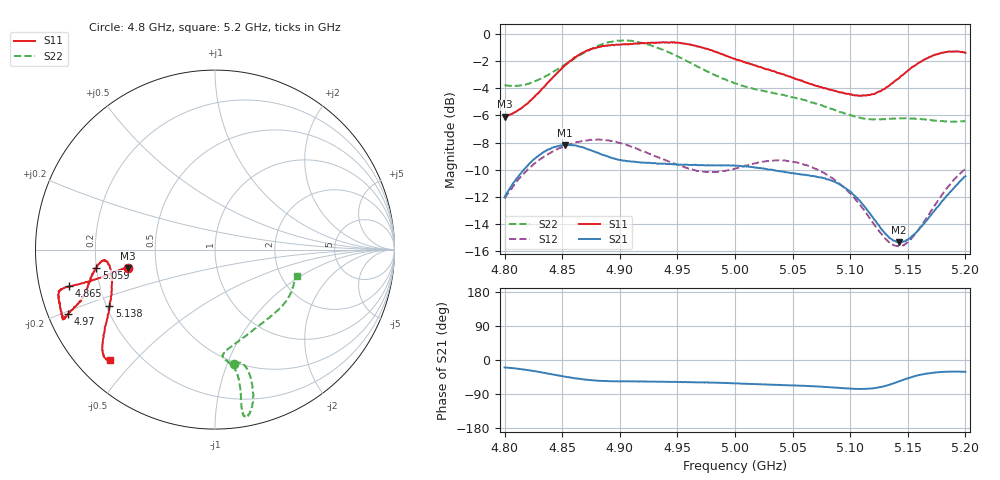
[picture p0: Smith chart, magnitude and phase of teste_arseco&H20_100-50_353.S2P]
! Network Analyzer HP8722D
! Hewlett-Packard
! Data name: Linha & Wilkinson
! Saver's name: Rodrigo Anjos
! Comments: Teste da utilização de aquisição
! continua pelo VNA HP8722D
! Time and date: 6/5/2025 15:30
!  Frequency  S11  S21  S12  S22
# HZ  S  MA R 50
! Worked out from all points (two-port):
!   401 points, 4.8 GHz to 5.2 GHz, reference 50 ohm
!   highest |S21| = -8.16 dB at 4.852 GHz (marker M1); lowest = -15.3 dB at 5.142 GHz (marker M2)
!   |S21| within 3 dB of the highest: 4.806 GHz to 5.093 GHz (286.6 MHz wide, 5.79 % of centre); 5.191837 GHz to end of sweep
!   lowest |S11| = -6.1 dB at 4.8 GHz (marker M3), VSWR 2.97, Z = 17 - j4.6 ohm
!   |S11| at or under -10 dB: nowhere
!   |S22| runs from -6.5 to -0.5 dB; largest |S21 - S12| = 0.62
!   S11 on the Smith chart (normalised r, x): 4.8 GHz: 0.34, -0.09; 4.865 GHz: 0.09, -0.12; 4.97 GHz: 0.06, -0.21; 5.059 GHz: 0.20, -0.07; 5.138 GHz: 0.21, -0.24; 5.2 GHz: 0.10, -0.43
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4.8e9  0.4963 -168.1  0.2513 -19.5  0.2482 -140.7  0.6479 -80.4
4.825e9  0.581 -167.3  0.344 -29.0  0.3311 -144.2  0.6653 -75.7
4.852e9  0.763 -165.8  0.3907 -43.7  0.3867 -149.3  0.7685 -74.5
4.865e9  0.8395 -165.9  0.3846 -49.8  0.4014 -151.6  0.8332 -75.1
4.867e9  0.8482 -165.8  0.3838 -50.7  0.4032 -151.9  0.8429 -75.3
4.883e9  0.8975 -165.1  0.3618 -55.0  0.4083 -154.7  0.9098 -77.1
4.9e9  0.9121 -162.5  0.3434 -56.3  0.3966 -156.4  0.9425 -79.1
4.934e9  0.9278 -156.4  0.3336 -57.4  0.3513 -155.5  0.8835 -80.5
4.97e9  0.8938 -156.3  0.3296 -59.0  0.3126 -146.9  0.7482 -79.5
5e9  0.8092 -158.9  0.3277 -61.6  0.3195 -137.2  0.6572 -81.3
5.032e9  0.7303 -164.6  0.3164 -65.5  0.3418 -134.2  0.608 -85.3
5.059e9  0.6681 -171.4  0.3035 -68.1  0.3319 -135.9  0.5723 -84.4
5.067e9  0.6526 -172.9  0.3004 -69.0  0.3234 -136.6  0.5593 -82.7
5.087e9  0.6171 -174.4  0.2848 -73.0  0.2894 -138.4  0.5243 -74.9
5.102e9  0.5954 -171.6  0.258 -75.8  0.2535 -138.6  0.4989 -65.9
5.116e9  0.5961 -165.5  0.2214 -75.9  0.2128 -135.5  0.4858 -55.8
5.134e9  0.6453 -154.3  0.1777 -65.4  0.1708 -120.7  0.4868 -43.3
5.138e9  0.6673 -151.8  0.1735 -61.0  0.1671 -115.7  0.4874 -40.9
5.142e9  0.6845 -149.7  0.1712 -56.8  0.1661 -110.3  0.4888 -38.6
5.154e9  0.7556 -144.4  0.1811 -44.6  0.1786 -95.0  0.4877 -32.3
5.173e9  0.8349 -138.8  0.2234 -33.2  0.233 -80.7  0.4798 -24.3
5.2e9  0.8509 -133.6  0.2996 -31.3  0.3187 -76.8  0.4769 -17.6
